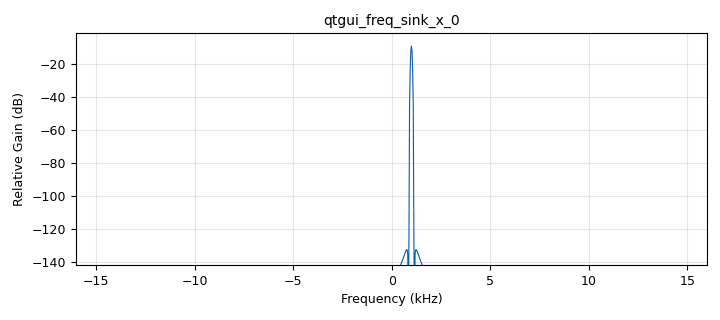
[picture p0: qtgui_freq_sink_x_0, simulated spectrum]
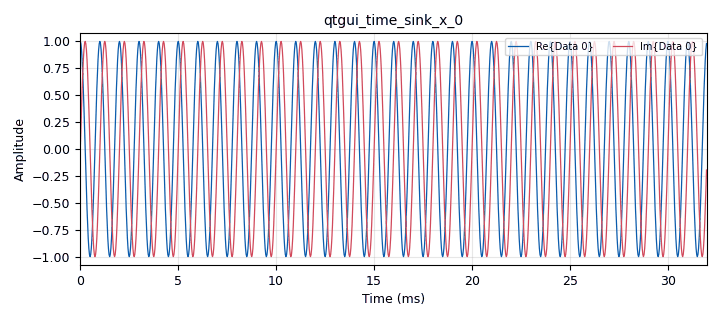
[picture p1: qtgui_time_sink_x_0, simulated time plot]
options:
  parameters:
    author: opensourcesdr
    generate_options: qt_gui
    id: samp_rate_with_throttle
    output_language: python
    title: samp_rate_with_throttle
  states: {}

blocks:
- name: samp_rate
  id: variable
  parameters:
    value: '32000'
  states: {}
- name: analog_sig_source_x_0
  id: analog_sig_source_x
  parameters:
    amp: '1'
    freq: '1000'
    offset: '0'
    phase: '0'
    samp_rate: samp_rate
    type: complex
    waveform: analog.GR_COS_WAVE
  states: {}
- name: blocks_throttle_0
  id: blocks_throttle
  parameters:
    samples_per_second: samp_rate
    type: complex
  states: {}
- name: qtgui_freq_sink_x_0
  id: qtgui_freq_sink_x
  parameters:
    autoscale: 'True'
    bw: samp_rate
    ctrlpanel: 'True'
    fc: '0'
    fftsize: '1024'
    type: complex
    wintype: firdes.WIN_BLACKMAN_hARRIS
  states: {}
- name: qtgui_time_sink_x_0
  id: qtgui_time_sink_x
  parameters:
    ctrlpanel: 'True'
    size: '1024'
    srate: samp_rate
    type: complex
  states: {}

connections:
- [analog_sig_source_x_0, '0', blocks_throttle_0, '0']
- [blocks_throttle_0, '0', qtgui_freq_sink_x_0, '0']
- [blocks_throttle_0, '0', qtgui_time_sink_x_0, '0']

metadata:
  file_format: 1
